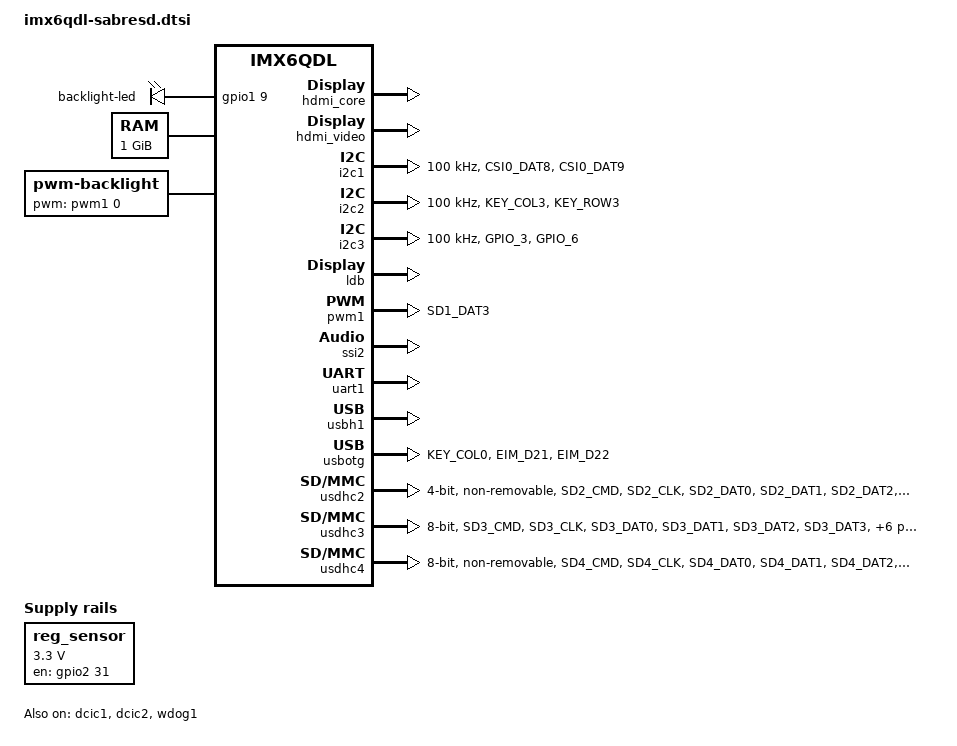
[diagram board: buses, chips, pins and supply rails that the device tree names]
/*
 * Copyright 2012-2015 Freescale Semiconductor, Inc.
 * Copyright 2011 Linaro Ltd.
 *
 * The code contained herein is licensed under the GNU General Public
 * License. You may obtain a copy of the GNU General Public License
 * Version 2 or later at the following locations:
 *
 * http://www.opensource.org/licenses/gpl-license.html
 * http://www.gnu.org/copyleft/gpl.html
 */

#include <dt-bindings/gpio/gpio.h>
#include <dt-bindings/input/input.h>

/ {
	aliases {
		mxcfb0 = &mxcfb1;
		mxcfb1 = &mxcfb2;
		mxcfb2 = &mxcfb3;
		mxcfb3 = &mxcfb4;
	};

	/*
	hannstar_cabc {
		compatible = "hannstar,cabc";
		lvds0 {
			gpios = <&gpio6 15 GPIO_ACTIVE_HIGH>;
		};
		lvds1 {
			gpios = <&gpio6 16 GPIO_ACTIVE_HIGH>;
		};
	};
	*/

	chosen {
		stdout-path = &uart1;
	};

	leds {
		compatible = "gpio-leds";

		// Adiciona lógica para ligar o backlight
		backlight-led {
			gpios = <&gpio1 9 GPIO_ACTIVE_HIGH>;
			default-state = "on";
		};
	};

	memory: memory {
		reg = <0x10000000 0x40000000>;
	};

	regulators {
		compatible = "simple-bus";
		#address-cells = <1>;
		#size-cells = <0>;

		/*
		reg_usb_otg_vbus: regulator@0 {
			compatible = "regulator-fixed";
			reg = <0>;
			regulator-name = "usb_otg_vbus";
			regulator-min-microvolt = <5000000>;
			regulator-max-microvolt = <5000000>;
			gpio = <&gpio3 22 0>;
			enable-active-high;
		};
		*/

		/*
		reg_usb_h1_vbus: regulator@1 {
			compatible = "regulator-fixed";
			reg = <1>;
			regulator-name = "usb_h1_vbus";
			regulator-min-microvolt = <5000000>;
			regulator-max-microvolt = <5000000>;
			gpio = <&gpio1 29 0>;
			enable-active-high;
			vin-supply = <&swbst_reg>;
		};
		*/

		/*
		reg_pcie: regulator@3 {
			compatible = "regulator-fixed";
			reg = <3>;
			pinctrl-names = "default";
			pinctrl-0 = <&pinctrl_pcie_reg>;
			regulator-name = "MPCIE_3V3";
			regulator-min-microvolt = <3300000>;
			regulator-max-microvolt = <3300000>;
			gpio = <&gpio3 19 0>;
			regulator-always-on;
			enable-active-high;
		};
		*/

		reg_sensor: regulator@4 {
			compatible = "regulator-fixed";
			reg = <4>;
			regulator-name = "sensor-supply";
			regulator-min-microvolt = <3300000>;
			regulator-max-microvolt = <3300000>;
			gpio = <&gpio2 31 0>;
			startup-delay-us = <500>;
			enable-active-high;
		};

		/*
		reg_mipi_dsi_pwr_on: mipi_dsi_pwr_on {
			compatible = "regulator-fixed";
			regulator-name = "mipi_dsi_pwr_on";
			gpio = <&gpio6 14 0>;
			enable-active-high;
		};
		*/
	};

	/*
	gpio-keys {
		compatible = "gpio-keys";
		pinctrl-names = "default";
		pinctrl-0 = <&pinctrl_gpio_keys>;

		power {
			label = "Power Button";
			gpios = <&gpio3 29 GPIO_ACTIVE_LOW>;
			gpio-key,wakeup;
			linux,code = <KEY_POWER>;
		};

		volume-up {
			label = "Volume Up";
			gpios = <&gpio1 4 GPIO_ACTIVE_LOW>;
			gpio-key,wakeup;
			linux,code = <KEY_VOLUMEUP>;
		};

		volume-down {
			label = "Volume Down";
			gpios = <&gpio1 5 GPIO_ACTIVE_LOW>;
			gpio-key,wakeup;
			linux,code = <KEY_VOLUMEDOWN>;
		};
	};
	*/

	mxcfb1: fb@0 {
		compatible = "fsl,mxc_sdc_fb";
		disp_dev = "ldb";
		interface_pix_fmt = "RGB666";
		default_bpp = <16>;
		int_clk = <0>;
		late_init = <0>;
		status = "disabled";
	};

	mxcfb2: fb@1 {
		compatible = "fsl,mxc_sdc_fb";
		disp_dev = "hdmi";
		interface_pix_fmt = "RGB24";
		mode_str ="1920x1080M@60";
		default_bpp = <24>;
		int_clk = <0>;
		late_init = <0>;
		status = "disabled";
	};

	mxcfb3: fb@2 {
		compatible = "fsl,mxc_sdc_fb";
		disp_dev = "lcd";
		interface_pix_fmt = "RGB565";
		mode_str ="CLAA-WVGA";
		default_bpp = <16>;
		int_clk = <0>;
		late_init = <0>;
		status = "disabled";
	};

	mxcfb4: fb@3 {
		compatible = "fsl,mxc_sdc_fb";
		disp_dev = "ldb";
		interface_pix_fmt = "RGB666";
		default_bpp = <16>;
		int_clk = <0>;
		late_init = <0>;
		status = "disabled";
	};

	lcd: lcd@0 {
		compatible = "fsl,lcd";
		ipu_id = <0>;
		disp_id = <1>;
		default_ifmt = "RGB666";
		pinctrl-names = "default";
		pinctrl-0 = <&pinctrl_ipu1>;
		status = "okay";
	};

	backlight {
		compatible = "pwm-backlight";
		pwms = <&pwm1 0 5000000>;
		brightness-levels = <0 4 8 16 32 64 128 255>;
		default-brightness-level = <7>;
		status = "okay";
	};

	//Removendo  Video4Linux capture
	/*
	v4l2_cap_0 {
		compatible = "fsl,imx6q-v4l2-capture";
		ipu_id = <0>;
		csi_id = <0>;
		mclk_source = <0>;
		status = "disabled";
	};

	v4l2_cap_1 {
		compatible = "fsl,imx6q-v4l2-capture";
		ipu_id = <0>;
		csi_id = <1>;
		mclk_source = <0>;
		status = "disabled";
	};


	v4l2_out {
		compatible = "fsl,mxc_v4l2_output";
		status = "disabled";
	};
	mipi_dsi_reset: mipi-dsi-reset {
		compatible = "gpio-reset";
		reset-gpios = <&gpio6 11 GPIO_ACTIVE_LOW>;
		reset-delay-us = <50>;
		#reset-cells = <0>;
	};
	*/
};

/*
&audmux {
	pinctrl-names = "default";
	pinctrl-0 = <&pinctrl_audmux>;
	status = "okay";
};
*/

&cpu0 {
	//Removendo nodes relacionados ao PMIC
	//arm-supply = <&sw1a_reg>;
	//soc-supply = <&sw1c_reg>;
};

&clks {
	fsl,ldb-di0-parent = <&clks IMX6QDL_CLK_PLL2_PFD0_352M>;
	fsl,ldb-di1-parent = <&clks IMX6QDL_CLK_PLL2_PFD0_352M>;
};

/*
&ecspi1 {
	fsl,spi-num-chipselects = <1>;
	//cs-gpios = <&gpio4 9 0>;
	pinctrl-names = "default";
	pinctrl-0 = <&pinctrl_ecspi1>;
	status = "okay";

	flash: m25p80@0 {
		#address-cells = <1>;
		#size-cells = <1>;
		compatible = "st,m25p32";
		spi-max-frequency = <25000000>;
		reg = <0>;
	};
};
*/

&gpc {
	fsl,ldo-bypass = <1>;
};

&dcic1 {
	dcic_id = <0>;
	dcic_mux = "dcic-hdmi";
	status = "okay";
};

&dcic2 {
	dcic_id = <1>;
	dcic_mux = "dcic-lvds1";
	status = "okay";
};

/*
&hdmi_cec {
	pinctrl-names = "default";
	pinctrl-0 = <&pinctrl_hdmi_cec>;
	status = "okay";
};
*/

&hdmi_core {
	ipu_id = <0>;
	disp_id = <0>;
	status = "okay";
};

&hdmi_video {
	fsl,phy_reg_vlev = <0x0294>;
	fsl,phy_reg_cksymtx = <0x800d>;
	status = "okay";
};

&i2c1 {
	clock-frequency = <100000>;
	pinctrl-names = "default";
	pinctrl-0 = <&pinctrl_i2c1>;
	status = "okay";

};

&i2c2 {
	clock-frequency = <100000>;
	pinctrl-names = "default";
	pinctrl-0 = <&pinctrl_i2c2>;
	status = "okay";

};

&i2c3 {
	clock-frequency = <100000>;
	pinctrl-names = "default";
	pinctrl-0 = <&pinctrl_i2c3>;
	status = "okay";

};

&iomuxc {
	pinctrl-names = "default";
	pinctrl-0 = <&pinctrl_hog>;

	imx6qdl-sabresd {
		//Removendo conflitos
		pinctrl_hog: hoggrp {
			fsl,pins = <
				MX6QDL_PAD_SD1_CMD__GPIO1_IO18 0x80000000
				MX6QDL_PAD_SD3_RST__GPIO7_IO08	0x80000000
			>;
		};

		//Removendo conflitos
		/*
		pinctrl_i2c3_egalax_int: egalax_i2c3_intgrp {
			fsl,pins = <
			>;
		};
		*/

		pinctrl_enet: enetgrp {
			fsl,pins = <
				MX6QDL_PAD_ENET_MDC__ENET_MDC           0x1b0b0
                                MX6QDL_PAD_ENET_MDIO__ENET_MDIO         0x1b0b0
                                MX6QDL_PAD_ENET_CRS_DV__ENET_RX_EN      0x1b0b0
                                MX6QDL_PAD_ENET_RX_ER__ENET_RX_ER       0x1b0b0
                                MX6QDL_PAD_ENET_TX_EN__ENET_TX_EN       0x1b0b0
                                MX6QDL_PAD_ENET_RXD0__ENET_RX_DATA0     0x1b0b0
                                MX6QDL_PAD_ENET_RXD1__ENET_RX_DATA1     0x1b0b0
                                MX6QDL_PAD_ENET_TXD0__ENET_TX_DATA0     0x1b0b0
                                MX6QDL_PAD_ENET_TXD1__ENET_TX_DATA1     0x1b0b0
                                MX6QDL_PAD_GPIO_16__ENET_REF_CLK        0x4001b0a1
                                MX6QDL_PAD_KEY_COL2__GPIO4_IO10         0x1b0b0
                                MX6QDL_PAD_KEY_ROW1__GPIO4_IO09         0x1b0b0
			>;
		};

		pinctrl_enet_irq: enetirqgrp {
			fsl,pins = <
				MX6QDL_PAD_GPIO_6__ENET_IRQ		0x000b1
			>;
		};

		//Removendo conflito
		/*pinctrl_gpio_keys: gpio_keysgrp {
			fsl,pins = <
			>;
		};
		*/

		//Removendo conflitos
		/*
		pinctrl_hdmi_cec: hdmicecgrp {
			fsl,pins = <
			>;
		};
		*/

		pinctrl_i2c1: i2c1grp {
			fsl,pins = <
				MX6QDL_PAD_CSI0_DAT8__I2C1_SDA		0x4001b8b1
				MX6QDL_PAD_CSI0_DAT9__I2C1_SCL		0x4001b8b1
			>;
		};

		pinctrl_i2c2: i2c2grp {
			fsl,pins = <
				MX6QDL_PAD_KEY_COL3__I2C2_SCL		0x4001b8b1
				MX6QDL_PAD_KEY_ROW3__I2C2_SDA		0x4001b8b1
			>;
		};

		pinctrl_i2c3: i2c3grp {
			fsl,pins = <
				MX6QDL_PAD_GPIO_3__I2C3_SCL		0x4001b8b1
				MX6QDL_PAD_GPIO_6__I2C3_SDA		0x4001b8b1
			>;
		};

		//Adicionando pinos do touch
                pinctrl_i2c_goodix: goodix_i2c_intgrp {
                        fsl,pins = <
                                MX6QDL_PAD_EIM_D26__GPIO3_IO26          0x80000000
                                MX6QDL_PAD_EIM_D27__GPIO3_IO27          0x80000000
                                MX6QDL_PAD_EIM_BCLK__GPIO6_IO31         0x80000000
                        >;
                };

		pinctrl_ipu1: ipu1grp {
			fsl,pins = <
				MX6QDL_PAD_DI0_DISP_CLK__IPU1_DI0_DISP_CLK 0x10
				MX6QDL_PAD_DI0_PIN15__IPU1_DI0_PIN15       0x10
				MX6QDL_PAD_DI0_PIN2__IPU1_DI0_PIN02        0x10
				MX6QDL_PAD_DI0_PIN3__IPU1_DI0_PIN03        0x10
				MX6QDL_PAD_DI0_PIN4__IPU1_DI0_PIN04        0x80000000
				MX6QDL_PAD_DISP0_DAT0__IPU1_DISP0_DATA00   0x10
				MX6QDL_PAD_DISP0_DAT1__IPU1_DISP0_DATA01   0x10
				MX6QDL_PAD_DISP0_DAT2__IPU1_DISP0_DATA02   0x10
				MX6QDL_PAD_DISP0_DAT3__IPU1_DISP0_DATA03   0x10
				MX6QDL_PAD_DISP0_DAT4__IPU1_DISP0_DATA04   0x10
				MX6QDL_PAD_DISP0_DAT5__IPU1_DISP0_DATA05   0x10
				MX6QDL_PAD_DISP0_DAT6__IPU1_DISP0_DATA06   0x10
				MX6QDL_PAD_DISP0_DAT7__IPU1_DISP0_DATA07   0x10
				MX6QDL_PAD_DISP0_DAT8__IPU1_DISP0_DATA08   0x10
				MX6QDL_PAD_DISP0_DAT9__IPU1_DISP0_DATA09   0x10
				MX6QDL_PAD_DISP0_DAT10__IPU1_DISP0_DATA10  0x10
				MX6QDL_PAD_DISP0_DAT11__IPU1_DISP0_DATA11  0x10
				MX6QDL_PAD_DISP0_DAT12__IPU1_DISP0_DATA12  0x10
				MX6QDL_PAD_DISP0_DAT13__IPU1_DISP0_DATA13  0x10
				MX6QDL_PAD_DISP0_DAT14__IPU1_DISP0_DATA14  0x10
				MX6QDL_PAD_DISP0_DAT15__IPU1_DISP0_DATA15  0x10
				MX6QDL_PAD_DISP0_DAT16__IPU1_DISP0_DATA16  0x10
				MX6QDL_PAD_DISP0_DAT17__IPU1_DISP0_DATA17  0x10
				MX6QDL_PAD_DISP0_DAT18__IPU1_DISP0_DATA18  0x10
				MX6QDL_PAD_DISP0_DAT19__IPU1_DISP0_DATA19  0x10
				MX6QDL_PAD_DISP0_DAT20__IPU1_DISP0_DATA20  0x10
				MX6QDL_PAD_DISP0_DAT21__IPU1_DISP0_DATA21  0x10
				MX6QDL_PAD_DISP0_DAT22__IPU1_DISP0_DATA22  0x10
				MX6QDL_PAD_DISP0_DAT23__IPU1_DISP0_DATA23  0x10
			>;
		};

		pinctrl_ipu1_csi0: ipu1grp-csi0 { /* parallel camera */
			fsl,pins = <
				MX6QDL_PAD_EIM_A17__IPU1_CSI1_DATA12    0xb0b1
				MX6QDL_PAD_EIM_A18__IPU1_CSI1_DATA13    0xb0b1
				MX6QDL_PAD_EIM_A19__IPU1_CSI1_DATA14    0xb0b1
				MX6QDL_PAD_EIM_A20__IPU1_CSI1_DATA15    0xb0b1
				MX6QDL_PAD_EIM_A21__IPU1_CSI1_DATA16    0xb0b1
				MX6QDL_PAD_EIM_A22__IPU1_CSI1_DATA17    0xb0b1
				MX6QDL_PAD_EIM_A23__IPU1_CSI1_DATA18    0xb0b1
				MX6QDL_PAD_EIM_A24__IPU1_CSI1_DATA19    0xb0b1
				MX6QDL_PAD_EIM_D17__IPU1_CSI1_PIXCLK    0xb0b1
				MX6QDL_PAD_EIM_EB3__IPU1_CSI1_HSYNC     0xb0b1
				MX6QDL_PAD_EIM_D29__IPU1_CSI1_VSYNC     0xb0b1

				MX6QDL_PAD_EIM_D28__GPIO3_IO28          0x40      //VD_nRESET
			>;
		};
		pinctrl_cam_mclk: camgrp_mclk { /* parallel camera */
			fsl,pins = <
				MX6QDL_PAD_NANDF_CS2__CCM_CLKO2         0x00b0		/* CAM sys_mclk */
			>;
		};

		//Removendo conflito
		/*
		pinctrl_pcie: pciegrp {
			fsl,pins = <
			>;
		};
		*/

		//Removendo conflito
		/*
		pinctrl_pcie_reg: pciereggrp {
			fsl,pins = <
			>;
		};
		*/

		pinctrl_pwm1: pwm1grp {
			fsl,pins = <
				MX6QDL_PAD_SD1_DAT3__PWM1_OUT		0x1b0b1
			>;
		};

		pinctrl_uart5_1: uart5grp-1 {
			fsl,pins = <
				MX6QDL_PAD_KEY_COL1__UART5_TX_DATA	0x1b0b1
			>;
		};

		pinctrl_uart5dte_1: uart5dtegrp-1 {
			fsl,pins = <
				MX6QDL_PAD_KEY_COL1__UART5_RX_DATA	0x1b0b1
			>;
		};

		pinctrl_usbotg: usbotggrp {
			fsl,pins = <
				MX6QDL_PAD_KEY_COL0__GPIO4_IO06		0x17059
                                MX6QDL_PAD_EIM_D21__USB_OTG_OC          0x1b0b0
                                MX6QDL_PAD_EIM_D22__USB_OTG_PWR         0x1b0b0
			>;
		};

		pinctrl_usdhc2: usdhc2grp {
			fsl,pins = <
				MX6QDL_PAD_SD2_CMD__SD2_CMD		0x17059
				MX6QDL_PAD_SD2_CLK__SD2_CLK		0x10059
				MX6QDL_PAD_SD2_DAT0__SD2_DATA0		0x17059
				MX6QDL_PAD_SD2_DAT1__SD2_DATA1		0x17059
				MX6QDL_PAD_SD2_DAT2__SD2_DATA2		0x17059
				MX6QDL_PAD_SD2_DAT3__SD2_DATA3		0x17059
			>;
		};

		pinctrl_usdhc3: usdhc3grp {
			fsl,pins = <
				MX6QDL_PAD_SD3_CMD__SD3_CMD		0x17059
				MX6QDL_PAD_SD3_CLK__SD3_CLK		0x10059
				MX6QDL_PAD_SD3_DAT0__SD3_DATA0		0x17059
				MX6QDL_PAD_SD3_DAT1__SD3_DATA1		0x17059
				MX6QDL_PAD_SD3_DAT2__SD3_DATA2		0x17059
				MX6QDL_PAD_SD3_DAT3__SD3_DATA3		0x17059
				MX6QDL_PAD_SD3_DAT4__SD3_DATA4		0x17059
				MX6QDL_PAD_SD3_DAT5__SD3_DATA5		0x17059
				MX6QDL_PAD_SD3_DAT6__SD3_DATA6		0x17059
				MX6QDL_PAD_SD3_DAT7__SD3_DATA7		0x17059
			>;
		};

		pinctrl_usdhc4: usdhc4grp {
			fsl,pins = <
				MX6QDL_PAD_SD4_CMD__SD4_CMD		0x17059
				MX6QDL_PAD_SD4_CLK__SD4_CLK		0x10059
				MX6QDL_PAD_SD4_DAT0__SD4_DATA0		0x17059
				MX6QDL_PAD_SD4_DAT1__SD4_DATA1		0x17059
				MX6QDL_PAD_SD4_DAT2__SD4_DATA2		0x17059
				MX6QDL_PAD_SD4_DAT3__SD4_DATA3		0x17059
				MX6QDL_PAD_SD4_DAT4__SD4_DATA4		0x17059
				MX6QDL_PAD_SD4_DAT5__SD4_DATA5		0x17059
				MX6QDL_PAD_SD4_DAT6__SD4_DATA6		0x17059
				MX6QDL_PAD_SD4_DAT7__SD4_DATA7		0x17059
			>;
		};

		//Removendo conflito
		/*
		pinctrl_wdog: wdoggrp {
			fsl,pins = <
			>;
		};
		*/
	};

	//Removendo conflitos
	/*
	gpio_leds {
		
		pinctrl_gpio_leds: gpioledsgrp {
			fsl,pins = <
			>;
		};
	};
	*/
};

&ldb {
	status = "okay";

	lvds-channel@0 {
		status = "disabled";
	};

	lvds-channel@1 {
		fsl,data-mapping = "spwg";
		fsl,data-width = <18>;
		primary;
		status = "okay";

		display-timings {
			native-mode = <&timing0>;
			timing0: hsd100pxn1 {
				clock-frequency = <65000000>;
				hactive = <800>;
				vactive = <480>;
				hback-porch = <220>;
				hfront-porch = <40>;
				vback-porch = <21>;
				vfront-porch = <7>;
				hsync-len = <60>;
				vsync-len = <10>;
			};
		};
	};
};

/* Removendo conflitos
&mipi_csi {
	status = "okay";
	ipu_id = <0>;
	csi_id = <1>;
	v_channel = <0>;
	lanes = <2>;
};

&mipi_dsi {
	dev_id = <0>;
	disp_id = <1>;
	lcd_panel = "TRULY-WVGA";
	disp-power-on-supply = <&reg_mipi_dsi_pwr_on>;
	resets = <&mipi_dsi_reset>;
	status = "okay";
};
*/

/*
&pcie {
	pinctrl-names = "default";
	pinctrl-0 = <&pinctrl_pcie>;
	reset-gpio = <&gpio7 12 0>;
	status = "okay";
};
*/

&pwm1 {
	pinctrl-names = "default";
	pinctrl-0 = <&pinctrl_pwm1>;
	status = "okay";
};

&snvs_poweroff {
	status = "okay";
};

&ssi2 {
	status = "okay";
};

&uart1 {
	pinctrl-names = "default";
	pinctrl-0 = <&pinctrl_uart1>;
	status = "okay";
};

&usbh1 {
	//vbus-supply = <&reg_usb_h1_vbus>;
	status = "okay";
};

&usbotg {
	//vbus-supply = <&reg_usb_otg_vbus>;
	pinctrl-names = "default";
	pinctrl-0 = <&pinctrl_usbotg>;
	disable-over-current;
	srp-disable;
	hnp-disable;
	adp-disable;
	status = "okay";
};

&usbphy1 {
	tx-d-cal = <0x5>;
};

&usbphy2 {
	tx-d-cal = <0x5>;
};

&usdhc2 {
	pinctrl-names = "default";
	pinctrl-0 = <&pinctrl_usdhc2>;
	bus-width = <4>;
	//cd-gpios = <&gpio1 4 GPIO_ACTIVE_LOW>;
	no-1-8-v;
	//keep-power-in-suspend;
	//enable-sdio-wakeup;
	non-removable;
	pm-ignore-notify;
	status = "okay";
	max-frequency = <25000000>;
};

&usdhc3 {
	pinctrl-names = "default";
	pinctrl-0 = <&pinctrl_usdhc3>;
	bus-width = <8>;
	cd-gpios = <&gpio2 0 GPIO_ACTIVE_LOW>;
	wp-gpios = <&gpio2 1 GPIO_ACTIVE_HIGH>;
	no-1-8-v;
	keep-power-in-suspend;
	enable-sdio-wakeup;
	status = "okay";
};

&usdhc4 {
	pinctrl-names = "default";
	pinctrl-0 = <&pinctrl_usdhc4>;
	bus-width = <8>;
	non-removable;
	no-1-8-v;
	keep-power-in-suspend;
	status = "okay";
};

&wdog1 {
	status = "okay";
};

//Removendo wdog2 para possibilitar reboot
/*&wdog2 {
	pinctrl-names = "default";
	pinctrl-0 = <&pinctrl_wdog>;
	fsl,wdog_b;
	status = "okay";
};*/
